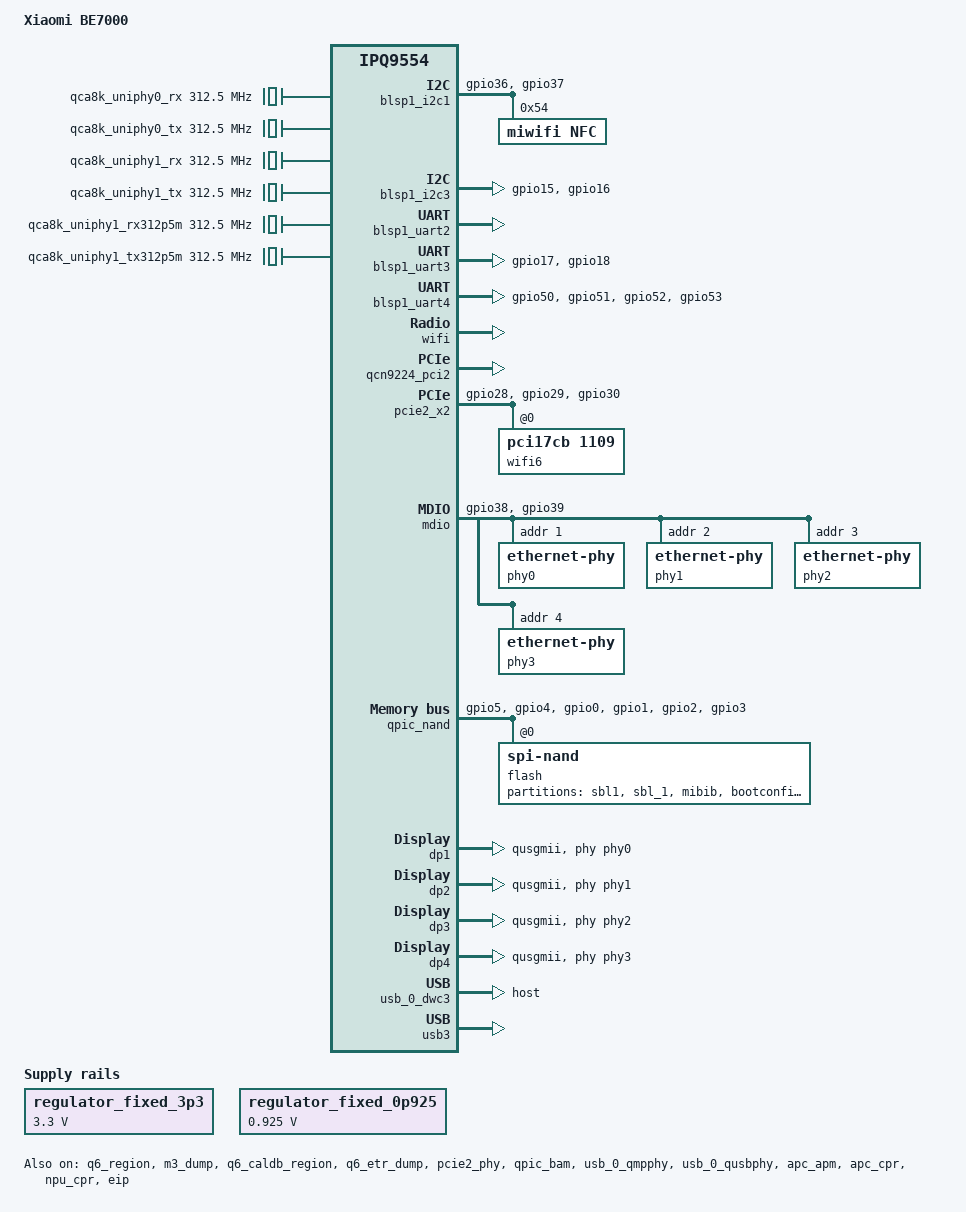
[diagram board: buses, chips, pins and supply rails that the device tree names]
// SPDX-License-Identifier: (GPL-2.0+ OR BSD-3-Clause)

/dts-v1/;


#include <dt-bindings/gpio/gpio.h>
#include <dt-bindings/input/input.h>
#include <dt-bindings/leds/common.h>
#include <dt-bindings/net/qcom-ipq-ess.h>
#include "ipq9574.dtsi"
//#include "ipq9574-ess.dtsi"
#include <dt-bindings/net/qcom,qca808x.h>

/ {
	model = "Xiaomi BE7000";
	compatible = "xiaomi,be7000", "qcom,ipq9574", "qcom,ipq9554";

	aliases {
		serial0 = &blsp1_uart2;
		serial1 = &blsp1_uart3;
		serial2 = &blsp1_uart4;


		ethernet0 = &dp1;
		ethernet1 = &dp2;
		ethernet2 = &dp3;
		ethernet3 = &dp4;
/*		ethernet4 = &dp5;
		ethernet5 = &dp6;*/
	};

	chosen {
		stdout-path = "serial0:115200n8";
//		bootargs-append = " pci=pcie_bus_perf mitigations=off clk_ignore_unused root=/dev/ubiblock0_1";
		bootargs-append = " pci=pcie_bus_perf mitigations=off root=/dev/ubiblock0_1";
/*		bootargs-append = " mitigations=off"; */
	};

	regulator_fixed_3p3: s3300 {
		compatible = "regulator-fixed";
		regulator-min-microvolt = <3300000>;
		regulator-max-microvolt = <3300000>;
		regulator-boot-on;
		regulator-always-on;
		regulator-name = "fixed_3p3";
	};

	regulator_fixed_0p925: s0925 {
		compatible = "regulator-fixed";
		regulator-min-microvolt = <925000>;
		regulator-max-microvolt = <925000>;
		regulator-boot-on;
		regulator-always-on;
		regulator-name = "fixed_0p925";
	};

/*	gpio-keys {
		compatible = "gpio-keys";
		pinctrl-0 = <&gpio_keys_default>;
		pinctrl-names = "default";

		reset {
			label = "reset";
			linux,code = <KEY_RESTART>;
			gpios = <&tlmm 44 GPIO_ACTIVE_LOW>;
			linux,input-type = <EV_KEY>;
			debounce-interval = <60>;
		};
	};*/

/*	leds {
		compatible = "gpio-leds";
		pinctrl-0 = <&gpio_leds_default>;
		pinctrl-names = "default";

		aiot-white {
			label = "white:aiot";
			color = <LED_COLOR_ID_WHITE>;
			gpios = <&tlmm 8 GPIO_ACTIVE_HIGH>;
			default-state = "off";
		};

		led_system_white: system-white {
			label = "white:system";
			color = <LED_COLOR_ID_WHITE>;
			gpios = <&tlmm 40 GPIO_ACTIVE_HIGH>;
			default-state = "off";
		};

		led_system_amber: system-amber {
			label = "amber:system";
			color = <LED_COLOR_ID_AMBER>;
			gpios = <&tlmm 41 GPIO_ACTIVE_HIGH>;
			default-state = "off";
		};

		network-white {
			label = "white:network";
			color = <LED_COLOR_ID_WHITE>;
			gpios = <&tlmm 42 GPIO_ACTIVE_HIGH>;
			default-state = "off";
		};

		network-amber {
			label = "amber:network";
			color = <LED_COLOR_ID_AMBER>;
			gpios = <&tlmm 43 GPIO_ACTIVE_HIGH>;
			default-state = "off";
		};
	};*/

	clocks {
		qca8k_uniphy0_rx: qca8k-uniphy0-rx {
			compatible = "fixed-clock";
			clock-frequency = <312500000>;
			#clock-cells = <0>;
		};

		qca8k_uniphy0_tx: qca8k-uniphy0-tx {
			compatible = "fixed-clock";
			clock-frequency = <312500000>;
			#clock-cells = <0>;
		};

		qca8k_uniphy1_rx: qca8k-uniphy1-rx {
			compatible = "fixed-clock";
			clock-frequency = <312500000>;
			#clock-cells = <0>;
		};

		qca8k_uniphy1_tx: qca8k-uniphy1-tx {
			compatible = "fixed-clock";
			clock-frequency = <312500000>;
			#clock-cells = <0>;
		};

		qca8k_uniphy1_rx312p5m: qca8k-uniphy1-rx312p5m {
			compatible = "fixed-clock";
			clock-frequency = <312500000>;
			#clock-cells = <0>;
		};

		qca8k_uniphy1_tx312p5m: qca8k-uniphy1-tx312p5m {
			compatible = "fixed-clock";
			clock-frequency = <312500000>;
			#clock-cells = <0>;
		};
	};


/*	qti,scm_restart_reason {
		compatible = "qti,scm_restart_reason";
		reg = <0x193d100 0x4>;
		qti,runtime-failsafe = <0x0>;
	};
*/
/*	clocks {
		qca8k_uniphy0_rx: qca8k-uniphy0-rx {
			compatible = "fixed-clock";
			clock-frequency = <312500000>;
			#clock-cells = <0>;
		};

		qca8k_uniphy0_tx: qca8k-uniphy0-tx {
			compatible = "fixed-clock";
			clock-frequency = <312500000>;
			#clock-cells = <0>;
		};
	};*/
};

&blsp1_i2c1 {
	pinctrl-0 = <&i2c1_pins>;
	pinctrl-names = "default";
	status = "okay";

	nfc: nfc@54 {
		compatible = "miwifi,nfc";
		reg = <0x54>;
	};
};

&blsp1_i2c3 {
	pinctrl-0 = <&i2c3_pins>;
	pinctrl-names = "default";
	status = "okay";

};

&blsp1_uart2 {
	pinctrl-0 = <&uart2_pins>;
	pinctrl-names = "default";
	status = "okay";
};

&blsp1_uart3 {
	pinctrl-0 = <&uart3_pins>;
	pinctrl-names = "default";
	status = "okay";
};

&blsp1_uart4 {
	pinctrl-0 = <&uart4_pins>;
	pinctrl-names = "default";
	status = "okay";
};


/*&qcom_ppe {
	ethernet-ports {
		#address-cells = <1>;
		#size-cells = <0>;

		port@1 {
			reg = <1>;
			phy-mode = "10g-qxgmii";
			label = "lan1";
			phy-handle = <&phy0>;
			pcs-handle = <&pcs0_ch0>;
			clocks = <&nsscc NSS_CC_PORT1_MAC_CLK>,
				 <&nsscc NSS_CC_PORT1_RX_CLK>,
				 <&nsscc NSS_CC_PORT1_TX_CLK>;
			clock-names = "port_mac",
				      "port_rx",
				      "port_tx";
			resets = <&nsscc PORT1_MAC_ARES>,
				 <&nsscc PORT1_RX_ARES>,
				 <&nsscc PORT1_TX_ARES>;
			reset-names = "port_mac",
				      "port_rx",
				      "port_tx";
		};

		port@2 {
			reg = <2>;
			phy-mode = "10g-qxgmii";
			label = "lan2";
			phy-handle = <&phy1>;
			pcs-handle = <&pcs0_ch1>;
			clocks = <&nsscc NSS_CC_PORT2_MAC_CLK>,
				 <&nsscc NSS_CC_PORT2_RX_CLK>,
				 <&nsscc NSS_CC_PORT2_TX_CLK>;
			clock-names = "port_mac",
				      "port_rx",
				      "port_tx";
			resets = <&nsscc PORT2_MAC_ARES>,
				 <&nsscc PORT2_RX_ARES>,
				 <&nsscc PORT2_TX_ARES>;
			reset-names = "port_mac",
				      "port_rx",
				      "port_tx";
		};

		port@3 {
			reg = <3>;
			phy-mode = "10g-qxgmii";
			label = "lan3";
			phy-handle = <&phy2>;
			pcs-handle = <&pcs0_ch2>;
			clocks = <&nsscc NSS_CC_PORT3_MAC_CLK>,
				 <&nsscc NSS_CC_PORT3_RX_CLK>,
				 <&nsscc NSS_CC_PORT3_TX_CLK>;
			clock-names = "port_mac",
				      "port_rx",
				      "port_tx";
			resets = <&nsscc PORT3_MAC_ARES>,
				 <&nsscc PORT3_RX_ARES>,
				 <&nsscc PORT3_TX_ARES>;
			reset-names = "port_mac",
				      "port_rx",
				      "port_tx";
		};

		port@4 {
			reg = <4>;
			phy-mode = "10g-qxgmii";
			label = "lan4";
			phy-handle = <&phy3>;
			pcs-handle = <&pcs0_ch3>;
			clocks = <&nsscc NSS_CC_PORT4_MAC_CLK>,
				 <&nsscc NSS_CC_PORT4_RX_CLK>,
				 <&nsscc NSS_CC_PORT4_TX_CLK>;
			clock-names = "port_mac",
				      "port_rx",
				      "port_tx";
			resets = <&nsscc PORT4_MAC_ARES>,
				 <&nsscc PORT4_RX_ARES>,
				 <&nsscc PORT4_TX_ARES>;
			reset-names = "port_mac",
				      "port_rx",
				      "port_tx";
		};
	};
};
*/


&sleep_clk {
	clock-frequency = <32000>;
};


&q6_region {
	status = "okay";
};

&m3_dump {
	status = "okay";
};

&q6_caldb_region {
	status = "okay";
};

&q6_etr_dump {
	status = "okay";
};


&wifi {
	status = "okay";
	qcom,ath11k-calibration-variant = "Xiaomi-BE7000";
	qcom,bdf-addr = <0x4b700000>;
	qcom,caldb-addr = <0x4d800000>;
	qcom,caldb-size = <0x500000>;
	qcom,m3-dump-addr = <0x4d600000>;
	qcom,board_id = <0x20>;
};

&qcn9224_pci2 {
	status = "okay";
};

&pcie2_x2 {
	pinctrl-0 = <&pcie2_default>;
	pinctrl-names = "default";

	perst-gpios = <&tlmm 29 GPIO_ACTIVE_LOW>;
	wake-gpios = <&tlmm 30 GPIO_ACTIVE_LOW>;
	status = "okay";

	pcie@0,0 {
		#address-cells = <3>;
		#size-cells = <2>;
		reg = <0 0 0 0 0>;

		wifi6: pcie@0 {
			compatible = "pci17cb,1109";
			reg = <0 0 0 0 0>;
			qcom,board_id = <0x2>;
/*			qcom,board_id = <0x1008>;*/
			hremote_node = <&qcn9224_pci2>;
			qcom,num-radios = <1>;
		};
	};

};

&pcie2_phy {
	status = "okay";
};


&tlmm {
	i2c1_pins: i2c1-state {
		pins = "gpio36", "gpio37";
		function = "blsp1_i2c";
		drive-strength = <8>;
		bias-disable;
	};

	i2c3_pins: i2c3-state {
		pins = "gpio15", "gpio16";
		function = "blsp3_i2c";
		drive-strength = <0x8>;
		bias-disable;
		phandle = <0x1f>;
	};

	gpio_keys_default: gpio-keys-default-state {
		pins = "gpio44";
		function = "gpio";
		drive-strength = <8>;
		bias-pull-up;
	};

	gpio_leds_default: gpio-leds-default-state {
		pins = "gpio8", "gpio40", "gpio41", "gpio42", "gpio43";
		function = "gpio";
		drive-strength = <8>;
		bias-pull-up;
	};
	gps_pins {
		uart3_pins: blsp3_uart_pinmux {
			pins = "gpio17", "gpio18";
			function = "blsp3_uart";
			drive-strength = <0x8>;
			bias-disable;
		};

		gps_on_off {
			pins = "gpio7";
			function = "gpio";
			drive-strength = <0x8>;
			bias-pull-down;
		};
	};


	qpic_snand_default_state: qpic-snand-default-state {
		clock-pins {
			pins = "gpio5";
			function = "qspi_clk";
			drive-strength = <8>;
			bias-disable;
		};

		cs-pins {
			pins = "gpio4";
			function = "qspi_cs";
			drive-strength = <8>;
			bias-disable;
		};

		data-pins {
			pins = "gpio0", "gpio1", "gpio2", "gpio3";
			function = "qspi_data";
			drive-strength = <8>;
			bias-disable;
		};
	};

	pcie2_default: pcie2-default-state {
		clkreq-n-pins {
			pins = "gpio28";
			function = "pcie2_clk";
			drive-strength = <6>;
			bias-pull-up;
		};

		perst-n-pins {
			pins = "gpio29";
			function = "gpio";
			drive-strength = <8>;
			bias-pull-down;
			output-low;
		};

		wake-n-pins {
			pins = "gpio30";
			function = "pcie2_wake";
			drive-strength = <6>;
			bias-pull-up;
		};
	};

	mdio_pins: mdio-default-state {
		mdc {
			pins = "gpio38";
			function = "mdc";
			drive-strength = <8>;
			bias-disable;
		};
		mdio {
			pins = "gpio39";
			function = "mdio";
			drive-strength = <8>;
			bias-pull-up;
		};
	};

	QCC710_pins {
		uart4_pins: blsp1_uart4_pinmux {
			pins = "gpio50", "gpio51", "gpio52", "gpio53";
			function = "blsp4_uart";
			drive-strength = <0x8>;
			bias-disable;
		};

		QCC710_reset {
			pins = "gpio19";
			function = "gpio";
			drive-strength = <0x8>;
			bias-pull-down;
		};
	};

	pta_QCC710 {
		pta1_0 {
			pins = "gpio56";
			function = "pta1_0";
			drive-strength = <0x8>;
			bias-disable;
		};

		pta1_1 {
			pins = "gpio54";
			function = "pta1_1";
			drive-strength = <0x8>;
			bias-disable;
		};

		pta1_2 {
			pins = "gpio55";
			function = "pta1_2";
			drive-strength = <0x8>;
			bias-disable;
		};
	};

};

&mdio {
	status = "okay";
	clock-frequency = <6250000>;
	pinctrl-0 = <&mdio_pins>;
	pinctrl-names = "default";
	phy-reset-gpio = <&tlmm 60 GPIO_ACTIVE_LOW>;
	phyaddr_fixup = <0xC90F018>;
	uniphyaddr_fixup = <0xC90F014>;

	phyaddr_fixup_fix = <0x320c41>;
	uniphyaddr_fixup_fix = <0x1cc5>;

	mdio_clk_fixup; /* MDIO clock sequence fix up flag */

#if 1
	phy0: ethernet-phy@0 {
		      reg = <1>;
		      fixup;
	      };
	phy1: ethernet-phy@1 {
		      reg = <2>;
		      fixup;
	      };
	phy2: ethernet-phy@2 {
		      reg = <3>;
		      fixup;
	      };
	phy3: ethernet-phy@3 {
		      reg = <4>;
		      fixup;
	      };
/*	phy4: ethernet-phy@4 {
		      compatible ="ethernet-phy-ieee802.3-c45";
		      reg = <8>;
	      };
	phy5: ethernet-phy@5 {
		      compatible ="ethernet-phy-ieee802.3-c45";
		      reg = <0>;
	      };*/
#endif

/*	phy4: ethernet-phy@4 {
		      compatible ="ethernet-phy-ieee802.3-c45";
		      reg = <8>;
	      };
	phy5: ethernet-phy@5 {
		      compatible ="ethernet-phy-ieee802.3-c45";
		      reg = <0>;
	      };*/

};

&qpic_bam {
	status = "okay";
};

&qpic_nand {
	pinctrl-0 = <&qpic_snand_default_state>;
	pinctrl-names = "default";
	status = "okay";

	flash@0 {
		reg = <0>;
		compatible = "spi-nand";
		#address-cells = <1>;
		#size-cells = <1>;
		nand-ecc-strength = <8>;
		nand-ecc-step-size = <512>;
		nand-bus-width = <0x08>;
		nand-ecc-engine = <&qpic_nand>;
		partitions {
			compatible = "fixed-partitions";
			#address-cells = <1>;
			#size-cells = <1>;
			partition@0 {
				label = "sbl1";
				reg = <0x0 0x100000>;
				read-only;
			};
			partition@20000 {
				label = "sbl_1";
				reg = <0x100000 0x100000>;
				read-only;
			};

			partition@200000 {
				label = "mibib";
				reg = <0x200000 0x100000>;
				read-only;
			};

			partition@300000 {
				label = "bootconfig";
				reg = <0x300000 0x80000>;
				read-only;
			};

			partition@380000 {
				label = "bootconfig1";
				reg = <0x380000 0x80000>;
				read-only;
			};

			partition@400000 {
				label = "qsee";
				reg = <0x400000 0x200000>;
				read-only;
			};

			partition@600000 {
				label = "qsee_1";
				reg = <0x600000 0x200000>;
				read-only;
			};

			partition@800000 {
				label = "devcfg";
				reg = <0x800000 0x80000>;
				read-only;
			};

			partition@880000 {
				label = "devcfg_1";
				reg = <0x880000 0x80000>;
				read-only;
			};

			partition@900000 {
				label = "apdp";
				reg = <0x900000 0x80000>;
				read-only;
			};

			partition@980000 {
				label = "apdp_1";
				reg = <0x980000 0x80000>;
				read-only;
			};

			partition@a00000 {
				label = "tme";
				reg = <0xa00000 0x80000>;
				read-only;
			};

			partition@a80000 {
				label = "tme_1";
				reg = <0xa80000 0x80000>;
				read-only;
			};

			partition@b00000 {
				label = "rpm";
				reg = <0xb00000 0x80000>;
				read-only;
			};

			partition@b80000 {
				label = "rpm_1";
				reg = <0xb80000 0x80000>;
				read-only;
			};

			partition@c00000 {
				label = "cdt";
				reg = <0xc00000 0x80000>;
				read-only;
			};

			partition@c80000 {
				label = "cdt_1";
				reg = <0xc80000 0x80000>;
				read-only;
			};

			partition@d00000 {
				label = "appsblenv";
				reg = <0xd00000 0x80000>;
			};

			partition@d80000 {
				label = "appsbl";
				reg = <0xd80000 0x100000>;
				read-only;
			};

			partition@e80000 {
				label = "appsbl_1";
				reg = <0xe80000 0x100000>;
				read-only;
			};

			partition@f80000 {
				label = "art";
				reg = <0xf80000 0x100000>;
				read-only;
			};

			partition@1080000 {
				label = "training";
				reg = <0x1080000 0x80000>;
			};

			partition@1100000 {
				label = "license";
				reg = <0x1100000 0x40000>;
			};

			partition@1140000 {
				label = "rootfs";
				reg = <0x1140000 0x2800000>;
			};

			partition@3940000 {
				label = "rootfs_1";
				reg = <0x3940000 0x2800000>;
			};

			partition@6140000 {
				label = "bdata";
				reg = <0x6140000 0x80000>;
			};

			partition@61c0000 {
				label = "nvram";
				reg = <0x61c0000 0x100000>;
				
			};

			partition@62c0000 {
				label = "overlay";
				reg = <0x62c0000 0x1c00000>;
				
			};

			partition@7ec0000 {
				label = "kf";
				reg = <0x7ec0000 0x40000>;
				
			};
		};

	};
};


&soc {
	ess-uniphy@7a00000 {
		compatible = "qcom,ess-uniphy";
		reg = <0x7a00000 0x30000>;
		uniphy_access_mode = "local bus";
	};

	ess_instance: ess-instance {
		compatible = "qcom,ess-instance";
		#address-cells = <1>;
		#size-cells = <1>;

		switch: ess-switch@3a000000 {

			compatible = "qcom,ess-switch-ipq95xx";
			switch_access_mode = "local bus";
			reg = <0x3a000000 0x1000000>;

			interconnects = <&nsscc MASTER_NSSNOC_PPE
					 &nsscc SLAVE_NSSNOC_PPE>,
					<&nsscc MASTER_NSSNOC_PPE_CFG
					 &nsscc SLAVE_NSSNOC_PPE_CFG>,
					<&gcc MASTER_NSSNOC_QOSGEN_REF
					 &gcc SLAVE_NSSNOC_QOSGEN_REF>,
					<&gcc MASTER_NSSNOC_TIMEOUT_REF
					 &gcc SLAVE_NSSNOC_TIMEOUT_REF>,
					<&gcc MASTER_MEM_NOC_NSSNOC
					 &gcc SLAVE_MEM_NOC_NSSNOC>,
					<&gcc MASTER_NSSNOC_MEMNOC
					 &gcc SLAVE_NSSNOC_MEMNOC>,
					<&gcc MASTER_NSSNOC_MEM_NOC_1
					 &gcc SLAVE_NSSNOC_MEM_NOC_1>;
			interconnect-names = "ppe",
					     "ppe_cfg",
					     "qos_gen",
					     "timeout_ref",
					     "nssnoc_memnoc",
					     "memnoc_nssnoc",
					     "memnoc_nssnoc_1";



			clocks = <&gcc GCC_CMN_12GPLL_AHB_CLK>,
				<&gcc GCC_CMN_12GPLL_SYS_CLK>,
				<&gcc GCC_UNIPHY0_AHB_CLK>,
				<&gcc GCC_UNIPHY0_SYS_CLK>,
				<&gcc GCC_UNIPHY1_AHB_CLK>,
				<&gcc GCC_UNIPHY1_SYS_CLK>,
				<&gcc GCC_UNIPHY2_AHB_CLK>,
				<&gcc GCC_UNIPHY2_SYS_CLK>,
				<&gcc GCC_NSSNOC_NSSCC_CLK>,
				<&gcc GCC_NSSCC_CLK>,
				<&gcc GCC_NSSNOC_SNOC_1_CLK>,
				<&gcc GCC_NSSNOC_SNOC_CLK>,
				<&nsscc NSS_CC_PORT1_MAC_CLK>,
				<&nsscc NSS_CC_PORT2_MAC_CLK>,
				<&nsscc NSS_CC_PORT3_MAC_CLK>,
				<&nsscc NSS_CC_PORT4_MAC_CLK>,
				<&nsscc NSS_CC_PORT5_MAC_CLK>,
				<&nsscc NSS_CC_PORT6_MAC_CLK>,
				<&nsscc NSS_CC_PPE_SWITCH_CLK>,
				<&nsscc NSS_CC_PPE_SWITCH_CFG_CLK>,
				<&nsscc NSS_CC_NSSNOC_PPE_CLK>,
				<&nsscc NSS_CC_NSSNOC_PPE_CFG_CLK>,
				<&nsscc NSS_CC_PPE_EDMA_CLK>,
				<&nsscc NSS_CC_PPE_EDMA_CFG_CLK>,
				<&nsscc NSS_CC_PPE_SWITCH_IPE_CLK>,
				<&nsscc NSS_CC_PPE_SWITCH_BTQ_CLK>,
				<&nsscc NSS_CC_PORT1_RX_CLK>,
				<&nsscc NSS_CC_PORT1_TX_CLK>,
				<&nsscc NSS_CC_PORT2_RX_CLK>,
				<&nsscc NSS_CC_PORT2_TX_CLK>,
				<&nsscc NSS_CC_PORT3_RX_CLK>,
				<&nsscc NSS_CC_PORT3_TX_CLK>,
				<&nsscc NSS_CC_PORT4_RX_CLK>,
				<&nsscc NSS_CC_PORT4_TX_CLK>,
				<&nsscc NSS_CC_PORT5_RX_CLK>,
				<&nsscc NSS_CC_PORT5_TX_CLK>,
				<&nsscc NSS_CC_PORT6_RX_CLK>,
				<&nsscc NSS_CC_PORT6_TX_CLK>,
				<&nsscc NSS_CC_UNIPHY_PORT1_RX_CLK>,
				<&nsscc NSS_CC_UNIPHY_PORT1_TX_CLK>,
				<&nsscc NSS_CC_UNIPHY_PORT2_RX_CLK>,
				<&nsscc NSS_CC_UNIPHY_PORT2_TX_CLK>,
				<&nsscc NSS_CC_UNIPHY_PORT3_RX_CLK>,
				<&nsscc NSS_CC_UNIPHY_PORT3_TX_CLK>,
				<&nsscc NSS_CC_UNIPHY_PORT4_RX_CLK>,
				<&nsscc NSS_CC_UNIPHY_PORT4_TX_CLK>,
				<&nsscc NSS_CC_UNIPHY_PORT5_RX_CLK>,
				<&nsscc NSS_CC_UNIPHY_PORT5_TX_CLK>,
				<&nsscc NSS_CC_UNIPHY_PORT6_RX_CLK>,
				<&nsscc NSS_CC_UNIPHY_PORT6_TX_CLK>,
				<&nsscc NSS_CC_PORT5_RX_CLK_SRC>,
				<&nsscc NSS_CC_PORT5_TX_CLK_SRC>;

			clock-names = "cmn_ahb_clk",
				"cmn_sys_clk",
				"uniphy0_ahb_clk",
				"uniphy0_sys_clk",
				"uniphy1_ahb_clk",
				"uniphy1_sys_clk",
				"uniphy2_ahb_clk",
				"uniphy2_sys_clk",
				"gcc_nssnoc_nsscc_clk",
				"gcc_nsscc_clk",
				"gcc_nssnoc_snoc_1_clk",
				"gcc_nssnoc_snoc_clk",
				"port1_mac_clk",
				"port2_mac_clk",
				"port3_mac_clk",
				"port4_mac_clk",
				"port5_mac_clk",
				"port6_mac_clk",
				"nss_ppe_clk",
				"nss_ppe_cfg_clk",
				"nssnoc_ppe_clk",
				"nssnoc_ppe_cfg_clk",
				"nss_edma_clk",
				"nss_edma_cfg_clk",
				"nss_ppe_ipe_clk",
				"nss_ppe_btq_clk",
				"nss_port1_rx_clk", "nss_port1_tx_clk",
				"nss_port2_rx_clk", "nss_port2_tx_clk",
				"nss_port3_rx_clk", "nss_port3_tx_clk",
				"nss_port4_rx_clk", "nss_port4_tx_clk",
				"nss_port5_rx_clk", "nss_port5_tx_clk",
				"nss_port6_rx_clk", "nss_port6_tx_clk",
				"uniphy0_port1_rx_clk",
				"uniphy0_port1_tx_clk",
				"uniphy0_port2_rx_clk",
				"uniphy0_port2_tx_clk",
				"uniphy0_port3_rx_clk",
				"uniphy0_port3_tx_clk",
				"uniphy0_port4_rx_clk",
				"uniphy0_port4_tx_clk",
				"uniphy0_port5_rx_clk",
				"uniphy0_port5_tx_clk",
				"uniphy2_port6_rx_clk",
				"uniphy2_port6_tx_clk",
				"nss_port5_rx_clk_src",
				"nss_port5_tx_clk_src";

			resets =<&nsscc PPE_FULL_RESET>,
				<&nsscc UNIPHY0_SOFT_RESET>,
				<&gcc GCC_UNIPHY0_XPCS_RESET>,
				<&nsscc UNIPHY_PORT5_ARES>,
				<&gcc GCC_UNIPHY1_XPCS_RESET>,
				<&nsscc UNIPHY_PORT6_ARES>,
				<&gcc GCC_UNIPHY2_XPCS_RESET>,
				<&nsscc UNIPHY_PORT1_ARES>,
				<&nsscc UNIPHY_PORT2_ARES>,
				<&nsscc UNIPHY_PORT3_ARES>,
				<&nsscc UNIPHY_PORT4_ARES>,
				<&gcc GCC_UNIPHY0_SYS_RESET>,
				<&gcc GCC_UNIPHY1_SYS_RESET>,
				<&gcc GCC_UNIPHY2_SYS_RESET>,
				<&nsscc NSSPORT1_RESET>,
				<&nsscc NSSPORT2_RESET>,
				<&nsscc NSSPORT3_RESET>,
				<&nsscc NSSPORT4_RESET>,
				<&nsscc NSSPORT5_RESET>,
				<&nsscc NSSPORT6_RESET>,
				<&nsscc PORT1_MAC_ARES>,
				<&nsscc PORT2_MAC_ARES>,
				<&nsscc PORT3_MAC_ARES>,
				<&nsscc PORT4_MAC_ARES>,
				<&nsscc PORT5_MAC_ARES>,
				<&nsscc PORT6_MAC_ARES>,
				<&nsscc PORT1_RX_ARES>,
				<&nsscc PORT1_TX_ARES>,
				<&nsscc PORT2_RX_ARES>,
				<&nsscc PORT2_TX_ARES>,
				<&nsscc PORT3_RX_ARES>,
				<&nsscc PORT3_TX_ARES>,
				<&nsscc PORT4_RX_ARES>,
				<&nsscc PORT4_TX_ARES>,
				<&nsscc PORT5_RX_ARES>,
				<&nsscc PORT5_TX_ARES>,
				<&nsscc PORT6_RX_ARES>,
				<&nsscc PORT6_TX_ARES>,
				<&nsscc UNIPHY_PORT1_RX_ARES>,
				<&nsscc UNIPHY_PORT1_TX_ARES>,
				<&nsscc UNIPHY_PORT2_RX_ARES>,
				<&nsscc UNIPHY_PORT2_TX_ARES>,
				<&nsscc UNIPHY_PORT3_RX_ARES>,
				<&nsscc UNIPHY_PORT3_TX_ARES>,
				<&nsscc UNIPHY_PORT4_RX_ARES>,
				<&nsscc UNIPHY_PORT4_TX_ARES>,
				<&nsscc UNIPHY_PORT5_RX_ARES>,
				<&nsscc UNIPHY_PORT5_TX_ARES>,
				<&nsscc UNIPHY_PORT6_RX_ARES>,
				<&nsscc UNIPHY_PORT6_TX_ARES>;

			reset-names = "ppe_rst",
				"uniphy0_soft_rst",
				"uniphy0_xpcs_rst",
				"uniphy1_soft_rst",
				"uniphy1_xpcs_rst",
				"uniphy2_soft_rst",
				"uniphy2_xpcs_rst",
				"uniphy0_port1_dis",
				"uniphy0_port2_dis",
				"uniphy0_port3_dis",
				"uniphy0_port4_dis",
				"uniphy0_sys_rst",
				"uniphy1_sys_rst",
				"uniphy2_sys_rst",
				"nss_port1_rst",
				"nss_port2_rst",
				"nss_port3_rst",
				"nss_port4_rst",
				"nss_port5_rst",
				"nss_port6_rst",
				"nss_port1_mac_rst",
				"nss_port2_mac_rst",
				"nss_port3_mac_rst",
				"nss_port4_mac_rst",
				"nss_port5_mac_rst",
				"nss_port6_mac_rst",
				"nss_port1_tx_rst",
				"nss_port1_rx_rst",
				"nss_port2_tx_rst",
				"nss_port2_rx_rst",
				"nss_port3_tx_rst",
				"nss_port3_rx_rst",
				"nss_port4_tx_rst",
				"nss_port4_rx_rst",
				"nss_port5_tx_rst",
				"nss_port5_rx_rst",
				"nss_port6_tx_rst",
				"nss_port6_rx_rst",
				"nss_uniphy_port1_tx_rst",
				"nss_uniphy_port1_rx_rst",
				"nss_uniphy_port2_tx_rst",
				"nss_uniphy_port2_rx_rst",
				"nss_uniphy_port3_tx_rst",
				"nss_uniphy_port3_rx_rst",
				"nss_uniphy_port4_tx_rst",
				"nss_uniphy_port4_rx_rst",
				"nss_uniphy_port5_tx_rst",
				"nss_uniphy_port5_rx_rst",
				"nss_uniphy_port6_tx_rst",
				"nss_uniphy_port6_rx_rst";
				
//				switch_cpu_bmp = <0x1>;
//				switch_inner_bmp = <0x80>;
//				switch_lan_bmp = <0x1e>;
//				switch_wan_bmp = <0x20>;
//				switch_mac_mode = <0x15>;
//				switch_mac_mode1 = <0xd>;
//				switch_mac_mode2 = <0xd>;

//				switch_cpu_bmp = <0x1>;  /* cpu port bitmap */
//				switch_inner_bmp = <0x80>;
//				switch_lan_bmp = <0x3e>; /* lan port bitmap */
//				switch_wan_bmp = <0x40>; /* wan port bitmap */
				switch_mac_mode = <0x15>; /* mac mode for uniphy instance0*/
				switch_mac_mode1 = <0xff>; /* mac mode for uniphy instance1*/
				switch_mac_mode2 = <0xff>; /* mac mode for uniphy instance2*/


				switch_cpu_bmp = <ESS_PORT0>;
				switch_inner_bmp = <ESS_PORT7>;
				switch_lan_bmp = <(ESS_PORT1 | ESS_PORT2 | ESS_PORT3 | ESS_PORT4)>;
//				switch_wan_bmp = <ESS_PORT6>;
//				switch_mac_mode = <MAC_MODE_UQXGMII>;
//				switch_mac_mode1 = <MAC_MODE_USXGMII>;
//				switch_mac_mode2 = <MAC_MODE_USXGMII>;
//				switch_mac_mode1 = <0xd>;
//				switch_mac_mode2 = <0xd>;
				bm_tick_mode = <0x0>;
				tm_tick_mode = <0x1>;

			mdio-bus = <&mdio>;
#if 1
			port_scheduler_resource {
				port@0 {
					port_id = <0>;
					ucast_queue = <0 63>;
					mcast_queue = <256 263>;
					l0sp = <0 0>;
					l0cdrr = <0 7>;
					l0edrr = <0 7>;
					l1cdrr = <0 0>;
					l1edrr = <0 0>;
				};
				port@1 {
					port_id = <1>;
					ucast_queue = <204 211>;
					mcast_queue = <272 275>;
					l0sp = <51 52>;
					l0cdrr = <108 115>;
					l0edrr = <108 115>;
					l1cdrr = <23 24>;
					l1edrr = <23 24>;
				};
				port@2 {
					port_id = <2>;
					ucast_queue = <212 219>;
					mcast_queue = <276 279>;
					l0sp = <53 54>;
					l0cdrr = <116 123>;
					l0edrr = <116 123>;
					l1cdrr = <25 26>;
					l1edrr = <25 26>;
				};
				port@3 {
					port_id = <3>;
					ucast_queue = <220 227>;
					mcast_queue = <280 283>;
					l0sp = <55 56>;
					l0cdrr = <124 131>;
					l0edrr = <124 131>;
					l1cdrr = <27 28>;
					l1edrr = <27 28>;
				};
				port@4 {
					port_id = <4>;
					ucast_queue = <228 235>;
					mcast_queue = <284 287>;
					l0sp = <57 58>;
					l0cdrr = <132 139>;
					l0edrr = <132 139>;
					l1cdrr = <29 30>;
					l1edrr = <29 30>;
				};
				port@5 {
					port_id = <5>;
					ucast_queue = <236 243>;
					mcast_queue = <288 291>;
					l0sp = <59 60>;
					l0cdrr = <140 147>;
					l0edrr = <140 147>;
					l1cdrr = <31 32>;
					l1edrr = <31 32>;
				};
				port@6 {
					port_id = <6>;
					ucast_queue = <244 251>;
					mcast_queue = <292 295>;
					l0sp = <61 62>;
					l0cdrr = <148 155>;
					l0edrr = <148 155>;
					l1cdrr = <33 34>;
					l1edrr = <33 34>;
				};
				port@7 {
					port_id = <7>;
					ucast_queue = <252 255>;
					mcast_queue = <296 299>;
					l0sp = <63 63>;
					l0cdrr = <156 159>;
					l0edrr = <156 159>;
					l1cdrr = <35 35>;
					l1edrr = <35 35>;
				};
				reserved {
					ucast_queue = <64 203>;
					mcast_queue = <264 271>;
					l0sp = <1 50>;
					l0cdrr = <8 107>;
					l0edrr = <8 107>;
					l1cdrr = <1 22>;
					l1edrr = <1 22>;
				};
			};
			port_scheduler_config {
				port@0 {
					port_id = <0>;
					l1scheduler {
						group@0 {
							/* L0 SP */
							sp = <0>;
							/* cpri cdrr epri edrr */
							cfg = <0 0 0 0>;
						};
					};
					l0scheduler {
						group@0 {
							/* unicast queue */
							ucast_queue = <0>;
							ucast_loop_pri = <8>;
							/* multicast queue */
							mcast_queue = <256>;
							/* sp cpri cdrr epri edrr */
							cfg = <0 0 0 0 0>;
						};
						group@1 {
							ucast_queue = <8>;
							ucast_loop_pri = <8>;
							mcast_queue = <257>;
							cfg = <0 0 0 0 0>;
						};
						group@2 {
							ucast_queue = <16>;
							ucast_loop_pri = <8>;
							mcast_queue = <258>;
							cfg = <0 0 0 0 0>;
						};
						group@3 {
							ucast_queue = <24>;
							ucast_loop_pri = <8>;
							mcast_queue = <259>;
							cfg = <0 0 0 0 0>;
						};
						group@4 {
							ucast_queue = <32>;
							ucast_loop_pri = <8>;
							mcast_queue = <260>;
							cfg = <0 0 0 0 0>;
						};
						group@5 {
							ucast_queue = <40>;
							ucast_loop_pri = <8>;
							mcast_queue = <261>;
							cfg = <0 0 0 0 0>;
						};
						group@6 {
							ucast_queue = <48>;
							ucast_loop_pri = <8>;
							mcast_queue = <262>;
							cfg = <0 0 0 0 0>;
						};
						group@7 {
							ucast_queue = <56>;
							ucast_loop_pri = <8>;
							mcast_queue = <263>;
							cfg = <0 0 0 0 0>;
						};
					};
				};
				port@1 {
					port_id = <1>;
					l1scheduler {
						group@0 {
							sp = <51>;
							cfg = <0 23 0 23>;
						};
						group@1 {
							sp = <52>;
							cfg = <1 24 1 24>;
						};
					};
					l0scheduler {
						group@0 {
							ucast_queue = <204>;
							ucast_loop_pri = <8>;
							/* max priority per SP */
							ucast_max_pri = <4>;
							mcast_queue = <272>;
							mcast_loop_pri = <4>;
							cfg = <51 0 108 0 108>;
						};
					};
				};
				port@2 {
					port_id = <2>;
					l1scheduler {
						group@0 {
							sp = <53>;
							cfg = <0 25 0 25>;
						};
						group@1 {
							sp = <54>;
							cfg = <1 26 1 26>;
						};
					};
					l0scheduler {
						group@0 {
							ucast_queue = <212>;
							ucast_loop_pri = <8>;
							ucast_max_pri = <4>;
							mcast_queue = <276>;
							mcast_loop_pri = <4>;
							cfg = <53 0 116 0 116>;
						};
					};
				};
				port@3 {
					port_id = <3>;
					l1scheduler {
						group@0 {
							sp = <55>;
							cfg = <0 27 0 27>;
						};
						group@1 {
							sp = <56>;
							cfg = <1 28 1 28>;
						};
					};
					l0scheduler {
						group@0 {
							ucast_queue = <220>;
							ucast_loop_pri = <8>;
							ucast_max_pri = <4>;
							mcast_queue = <280>;
							mcast_loop_pri = <4>;
							cfg = <55 0 124 0 124>;
						};
					};
				};
				port@4 {
					port_id = <4>;
					l1scheduler {
						group@0 {
							sp = <57>;
							cfg = <0 29 0 29>;
						};
						group@1 {
							sp = <58>;
							cfg = <1 30 1 30>;
						};
					};
					l0scheduler {
						group@0 {
							ucast_queue = <228>;
							ucast_loop_pri = <8>;
							ucast_max_pri = <4>;
							mcast_queue = <284>;
							mcast_loop_pri = <4>;
							cfg = <57 0 132 0 132>;
						};
					};
				};
				port@5 {
					port_id = <5>;
					l1scheduler {
						group@0 {
							sp = <59>;
							cfg = <0 31 0 31>;
						};
						group@1 {
							sp = <60>;
							cfg = <1 32 1 32>;
						};
					};
					l0scheduler {
						group@0 {
							ucast_queue = <236>;
							ucast_loop_pri = <8>;
							ucast_max_pri = <4>;
							mcast_queue = <288>;
							mcast_loop_pri = <4>;
							cfg = <59 0 140 0 140>;
						};
					};
				};
				port@6 {
					port_id = <6>;
					l1scheduler {
						group@0 {
							sp = <61>;
							cfg = <0 33 0 33>;
						};
						group@1 {
							sp = <62>;
							cfg = <1 34 1 34>;
						};
					};
					l0scheduler {
						group@0 {
							ucast_queue = <244>;
							ucast_loop_pri = <8>;
							ucast_max_pri = <4>;
							mcast_queue = <292>;
							mcast_loop_pri = <4>;
							cfg = <61 0 148 0 148>;
						};
					};
				};
				port@7 {
					port_id = <7>;
					l1scheduler {
						group@0 {
							sp = <63>;
							cfg = <0 35 0 35>;
						};
					};
					l0scheduler {
						group@0 {
							ucast_queue = <252>;
							ucast_loop_pri = <4>;
							ucast_max_pri = <4>;
							mcast_queue = <296>;
							mcast_loop_pri = <4>;
							cfg = <63 0 156 0 156>;
						};
					};
				};
			};
#endif

	qcom,port_phyinfo {
		port@0 {
			port_id = <1>;
			phy_address = <1>;
		        ethernet-phy-id004d.d180;
			phy-handle = <&phy0>;
			port_mac_sel = "QGMAC_PORT";
			phy-mode = "qusgmii";
		};
		port@1 {
			port_id = <2>;
			phy_address = <2>;
		        ethernet-phy-id004d.d180;
			port_mac_sel = "QGMAC_PORT";
			phy-handle = <&phy1>;
			phy-mode = "qusgmii";
		};
		port@2 {
			port_id = <3>;
			phy_address = <3>;
		        ethernet-phy-id004d.d180;
			port_mac_sel = "QGMAC_PORT";
			phy-handle = <&phy2>;
			phy-mode = "qusgmii";
		};
		port@3 {
			port_id = <4>;
			phy_address = <4>;
		        ethernet-phy-id004d.d180;
			port_mac_sel = "QGMAC_PORT";
			phy-handle = <&phy3>;
			phy-mode = "qusgmii";
		};
/*		port@4 {
			port_id = <5>;
			phy_address = <8>;
			ethernet-phy-ieee802.3-c45;
			phy-handle = <&phy4>;
			phy-mode = "usxgmii";
		};
		port@5 {
			port_id = <6>;
			phy_address = <0>;
			ethernet-phy-ieee802.3-c45;
			phy-handle = <&phy5>;
			phy-mode = "usxgmii";
		};*/
	};

				led_source@0 {
					source = <0x0>;
					mode = "normal";
					speed = "all";
					blink_en = "enable";
					active = "high";
				};

				led_source@3 {
					source = <0x3>;
					mode = "normal";
					speed = "all";
					blink_en = "enable";
					active = "high";
				};

				led_source@6 {
					source = <0x6>;
					mode = "normal";
					speed = "all";
					blink_en = "enable";
					active = "high";
				};

				led_source@9 {
					source = <0x9>;
					mode = "normal";
					speed = "all";
					blink_en = "enable";
					active = "high";
				};

				led_source@2 {
					source = <0x2>;
					mode = "normal";
					speed = "all";
					blink_en = "enable";
					active = "high";
				};

		};
	};

		dp1: dp1 {
			device_type = "network";
			compatible = "qcom,nss-dp";
			qcom,id = <1>;
			reg = <0x3a500000 0x4000>;
			qcom,mactype = <1>;
			local-mac-address = [000000000000];
			phy-mode = "qusgmii";
		        ethernet-phy-id004d.d180;
			qcom,link-poll = <0x1>;
			qcom,phy-mdio-addr = <0x1>;
			phy-handle = <&phy0>;
			qcom,ppe-offload-disabled = <1>;
			label = "wan";
		};

		dp2: dp2 {
			device_type = "network";
			compatible = "qcom,nss-dp";
			qcom,id = <2>;
			reg = <0x3a504000 0x4000>;
			qcom,mactype = <1>;
			local-mac-address = [000000000000];
			phy-mode = "qusgmii";
		        ethernet-phy-id004d.d180;
			qcom,link-poll = <0x1>;
			qcom,phy-mdio-addr = <0x2>;
			phy-handle = <&phy1>;
			qcom,ppe-offload-disabled = <1>;
			label = "lan1";
		};

		dp3: dp3 {
			device_type = "network";
			compatible = "qcom,nss-dp";
			qcom,id = <3>;
			reg = <0x3a508000 0x4000>;
			qcom,mactype = <1>;
		        ethernet-phy-id004d.d180;
			local-mac-address = [000000000000];
			phy-mode = "qusgmii";
			qcom,link-poll = <0x1>;
			qcom,phy-mdio-addr = <0x3>;
			phy-handle = <&phy2>;
			qcom,ppe-offload-disabled = <1>; 
			label = "lan2";
		};

		dp4: dp4 {
			device_type = "network";
			compatible = "qcom,nss-dp";
			qcom,id = <4>;
			reg = <0x3a50c000 0x4000>;
			qcom,mactype = <1>;
		        ethernet-phy-id004d.d180;
			local-mac-address = [000000000000];
			phy-mode = "qusgmii";
			qcom,link-poll = <0x1>;
			qcom,phy-mdio-addr = <0x4>;
			phy-handle = <&phy3>;
			qcom,ppe-offload-disabled = <1>;
			label = "lan3";
		};

/*		dp5: dp5 {
			device_type = "network";
			compatible = "qcom,nss-dp";
			qcom,id = <5>;
			reg = <0x3a510000 0x4000>;
			qcom,mactype = <1>;
			local-mac-address = [000000000000];
			qcom,link-poll = <0x1>;
			qcom,phy-mdio-addr = <0x8>;
			phy-handle = <&phy4>;
			phy-mode = "usxgmii";
		};

		dp6: dp6 {
			device_type = "network";
			compatible = "qcom,nss-dp";
			qcom,id = <6>;
			reg = <0x3a514000 0x4000>;
			qcom,mactype = <1>;
			local-mac-address = [000000000000];
			qcom,link-poll = <0x1>;
			qcom,phy-mdio-addr = <0x0>;
			phy-handle = <&phy5>;
			phy-mode = "usxgmii";
		};*/

		nss-macsec0 {
			compatible = "qcom,nss-macsec";
			phy_addr = <0x1>;
			mdiobus = <&mdio>;
		};
		nss-macsec1 {
			compatible = "qcom,nss-macsec";
			phy_addr = <0x2>;
			mdiobus = <&mdio>;
		};
		nss-macsec2 {
			compatible = "qcom,nss-macsec";
			phy_addr = <0x3>;
			mdiobus = <&mdio>;
		};
		nss-macsec3 {
			compatible = "qcom,nss-macsec";
			phy_addr = <0x4>;
			mdiobus = <&mdio>;
		};

		nss-common {
			compatible = "qcom,nss-common";
			reg = <0x39B28A04 0x01>;
			reg-names = "nss-misc-reset";
		};

		nss0: nss@40000000 {
			compatible = "qcom,nss";
			interrupts = <0 431 0x1>, <0 430 0x1>, <0 429 0x1>,
				     <0 428 0x1>, <0 427 0x1>, <0 426 0x1>,
				     <0 425 0x1>, <0 424 0x1>, <0 423 0x1>,
				     <0 422 0x1>;
			reg = <0x38F00000 0x100>, <0x38200000 0xC000>,
			      <0xB11A000 0x1000>;
			reg-names = "nphys", "vphys", "qgic-phys";
			clocks = <&nsscc NSS_CC_NSS_CSR_CLK>,
				 <&nsscc NSS_CC_NSSNOC_NSS_CSR_CLK>,
				 <&nsscc NSS_CC_HAQ_AHB_CLK>,
				 <&nsscc NSS_CC_HAQ_AXI_CLK>,
				 <&nsscc NSS_CC_NSSNOC_HAQ_AHB_CLK>,
				 <&nsscc NSS_CC_NSSNOC_HAQ_AXI_CLK>,
				 <&nsscc NSS_CC_CE_APB_CLK>,
				 <&nsscc NSS_CC_CE_AXI_CLK>,
				 <&nsscc NSS_CC_NSSNOC_CE_APB_CLK>,
				 <&nsscc NSS_CC_NSSNOC_CE_AXI_CLK>,
				 <&nsscc NSS_CC_CLC_AXI_CLK>,
				 <&nsscc NSS_CC_NSSNOC_CLC_AXI_CLK>,
				 <&nsscc NSS_CC_IMEM_QSB_CLK>,
				 <&nsscc NSS_CC_NSSNOC_IMEM_QSB_CLK>,
				 <&nsscc NSS_CC_IMEM_AHB_CLK>,
				 <&nsscc NSS_CC_NSSNOC_IMEM_AHB_CLK>,
				 <&nsscc NSS_CC_NSSNOC_UBI32_AHB0_CLK>,
				 <&nsscc NSS_CC_NSSNOC_UBI32_AXI0_CLK>,
				 <&nsscc NSS_CC_NSSNOC_UBI32_INT0_AHB_CLK>,
				 <&nsscc NSS_CC_NSSNOC_UBI32_NC_AXI0_1_CLK>,
				 <&nsscc NSS_CC_NSSNOC_UBI32_NC_AXI0_CLK>,
				 <&nsscc NSS_CC_UBI32_CORE0_CLK>,
				 <&nsscc NSS_CC_UBI32_AHB0_CLK>,
				 <&nsscc NSS_CC_UBI32_AXI0_CLK>,
				 <&nsscc NSS_CC_UBI32_INTR0_AHB_CLK>,
				 <&nsscc NSS_CC_UBI32_NC_AXI0_CLK>,
				 <&nsscc NSS_CC_UBI32_UTCM0_CLK>,
				 <&gcc GCC_MEM_NOC_NSSNOC_CLK>,
				 <&gcc GCC_NSS_TBU_CLK>,
				 <&gcc GCC_NSS_TS_CLK>,
				 <&gcc GCC_NSSCC_CLK>,
				 <&gcc GCC_NSSCFG_CLK>,
				 <&gcc GCC_NSSNOC_ATB_CLK>,
				 <&gcc GCC_NSSNOC_MEM_NOC_1_CLK>,
				 <&gcc GCC_NSSNOC_MEMNOC_CLK>,
				 <&gcc GCC_NSSNOC_NSSCC_CLK>,
				 <&gcc GCC_NSSNOC_PCNOC_1_CLK>,
				 <&gcc GCC_NSSNOC_QOSGEN_REF_CLK>,
				 <&gcc GCC_NSSNOC_SNOC_1_CLK>,
				 <&gcc GCC_NSSNOC_SNOC_CLK>,
				 <&gcc GCC_NSSNOC_TIMEOUT_REF_CLK>,
				 <&gcc GCC_NSSNOC_XO_DCD_CLK>;
			clock-names = "nss-csr-clk", "nss-nssnoc-csr-clk",
				      "nss-haq-ahb-clk", "nss-haq-axi-clk",
				      "nss-nssnoc-haq-ahb-clk", "nss-nssnoc-haq-axi-clk",
				      "nss-ce-ahb-clk", "nss-ce-axi-clk",
				      "nss-nssnoc-ce-ahb-clk", "nss-nssnoc-ce-axi-clk",
				      "nss-clc-axi-clk", "nss-nssnoc-clc-axi-clk",
				      "nss-imem-qsb-clk", "nss-nssnoc-imem-qsb-clk",
				      "nss-imem-ahb-clk", "nss-nssnoc-imem-ahb-clk",
				      "nss-nssnoc-ahb0-clk", "nss-nssnoc-axi0-clk",
				      "nss-nssnoc-int0-ahb-clk", "nss-nssnoc-nc-axi0-1-clk",
				      "nss-nssnoc-nc-axi0-clk",
				      "nss-core-clk", "nss-ahb-clk", "nss-axi-clk",
				      "nss-intr-ahb-clk", "nss-nc-axi-clk", "nss-utcm-clk",
				      "nss-mem-noc-nssnoc-clk", "nss-tbu-clk", "nss-ts-clk",
				      "nss-nsscc-clk", "nss-nsscfg-clk", "nss-nsscnoc-atb-clk",
				      "nss-nssnoc-mem-noc-1-clk", "nss-nssnoc-memnoc-clk", "nss-nssnoc-nsscc-clk",
				      "nss-nssnoc-pcnoc-1-clk", "nss-nssnoc-qosgen-ref-clk", "nss-nssnoc-snoc-1-clk",
				      "nss-nssnoc-snoc-clk", "nss-nssnoc-timeout-ref-clk", "nss-nssnoc-xo-dcd-clk";
			qcom,id = <0>;
			qcom,num-queue = <4>;
			qcom,num-irq = <10>;
			qcom,num-pri = <4>;
			qcom,load-addr = <0x40000000>;
			qcom,low-frequency = <748800000>;
			qcom,mid-frequency = <1497600000>;
			qcom,max-frequency = <1689600000>;
			qcom,edma-lite-enabled;
			qcom,capwap-enabled;
			qcom,trustsec-enabled;
			qcom,dtls-enabled;
			qcom,crypto-enabled;
		        npu-supply = <&npu_vreg>;
    			 mx-supply = <&ipq9574_s4>;
		};

		nss_crypto: qcom,nss_crypto {
			compatible = "qcom,nss-crypto";
			#address-cells = <1>;
			#size-cells = <1>;
			qcom,max-contexts = <64>;
			qcom,max-context-size = <32>;
			status = "ok";
			ranges;

			eip197_node {
				compatible = "qcom,eip197";
				reg-names = "crypto_pbase";
				reg = <0x39800000 0x7ffff>;
				clocks = <&nsscc NSS_CC_CRYPTO_CLK>,
					<&nsscc NSS_CC_NSSNOC_CRYPTO_CLK>,
					<&nsscc NSS_CC_CRYPTO_PPE_CLK>;
				clock-names = "crypto_clk", "crypto_nocclk",
						"crypto_ppeclk";
				clock-frequency = /bits/ 64 <600000000 600000000 300000000>;
				qcom,dma-mask = <0xff>;
				qcom,transform-enabled;
				qcom,aes128-cbc;
				qcom,aes192-cbc;
				qcom,aes256-cbc;
				qcom,aes128-ctr;
				qcom,aes192-ctr;
				qcom,aes256-ctr;
				qcom,aes128-ecb;
				qcom,aes192-ecb;
				qcom,aes256-ecb;
				qcom,3des-cbc;
				qcom,md5-hash;
				qcom,sha160-hash;
				qcom,sha224-hash;
				qcom,sha384-hash;
				qcom,sha512-hash;
				qcom,sha256-hash;
				qcom,md5-hmac;
				qcom,sha160-hmac;
				qcom,sha224-hmac;
				qcom,sha256-hmac;
				qcom,sha384-hmac;
				qcom,sha512-hmac;
				qcom,aes128-gcm-gmac;
				qcom,aes192-gcm-gmac;
				qcom,aes256-gcm-gmac;
				qcom,aes128-cbc-md5-hmac;
				qcom,aes128-cbc-sha160-hmac;
				qcom,aes192-cbc-md5-hmac;
				qcom,aes192-cbc-sha160-hmac;
				qcom,aes256-cbc-md5-hmac;
				qcom,aes256-cbc-sha160-hmac;
				qcom,aes128-ctr-sha160-hmac;
				qcom,aes192-ctr-sha160-hmac;
				qcom,aes256-ctr-sha160-hmac;
				qcom,aes128-ctr-md5-hmac;
				qcom,aes192-ctr-md5-hmac;
				qcom,aes256-ctr-md5-hmac;
				qcom,3des-cbc-md5-hmac;
				qcom,3des-cbc-sha160-hmac;
				qcom,aes128-cbc-sha256-hmac;
				qcom,aes192-cbc-sha256-hmac;
				qcom,aes256-cbc-sha256-hmac;
				qcom,aes128-ctr-sha256-hmac;
				qcom,aes192-ctr-sha256-hmac;
				qcom,aes256-ctr-sha256-hmac;
				qcom,3des-cbc-sha256-hmac;
				qcom,aes128-cbc-sha384-hmac;
				qcom,aes192-cbc-sha384-hmac;
				qcom,aes256-cbc-sha384-hmac;
				qcom,aes128-ctr-sha384-hmac;
				qcom,aes192-ctr-sha384-hmac;
				qcom,aes256-ctr-sha384-hmac;
				qcom,aes128-cbc-sha512-hmac;
				qcom,aes192-cbc-sha512-hmac;
				qcom,aes256-cbc-sha512-hmac;
				qcom,aes128-ctr-sha512-hmac;
				qcom,aes192-ctr-sha512-hmac;
				qcom,aes256-ctr-sha512-hmac;

				engine0 {
					reg_offset = <0x80000>;
					qcom,ifpp-enabled;
					qcom,ipue-enabled;
					qcom,ofpp-enabled;
					qcom,opue-enabled;
				};
			};
		};

		eip: eip197@39800000 {
			compatible = "qcom,eip";
			reg-names = "eip_pbase";
			reg = <0x39800000 0x7ffff>;
			reg_offset = <0x80000>;
			ranges;
			clocks = <&nsscc NSS_CC_CRYPTO_CLK>,
			<&nsscc NSS_CC_NSSNOC_CRYPTO_CLK>,
			<&nsscc NSS_CC_CRYPTO_PPE_CLK>;
			clock-names = "crypto_clk", "crypto_nocclk",
			"crypto_ppeclk";
			clock-frequency = /bits/ 64 <600000000 600000000 300000000>;
			status = "ok";
			interrupts = <GIC_SPI 385 IRQ_TYPE_LEVEL_HIGH>,
				   <GIC_SPI 386 IRQ_TYPE_LEVEL_HIGH>,
				   <GIC_SPI 387 IRQ_TYPE_LEVEL_HIGH>,
				   <GIC_SPI 388 IRQ_TYPE_LEVEL_HIGH>;

			dma0 {
				tx_cpu = /bits/ 8 <0>;
				rx_cpu = /bits/ 8 <3>;
				ring-name = "lookaside";
				ring-id = /bits/ 8 <0>;
			};

			dma1 {
				tx_cpu = /bits/ 8 <1>;
				rx_cpu = /bits/ 8 <2>;
				ring-name = "lookaside";
				ring-id = /bits/ 8 <1>;
			};

			dma2 {
				tx_cpu = /bits/ 8 <2>;
				rx_cpu = /bits/ 8 <1>;
				ring-name = "lookaside";
				ring-id = /bits/ 8 <2>;
			};

			dma3 {
				tx_cpu = /bits/ 8 <3>;
				rx_cpu = /bits/ 8 <0>;
				ring-name = "lookaside";
				ring-id = /bits/ 8 <3>;
			};

			dma4 {
				tx_cpu = /bits/ 8 <0>;
				rx_cpu = /bits/ 8 <0>;
				ring-name = "hybrid";
				ring-id = /bits/ 8 <4>;
			};

			dma5 {
				tx_cpu = /bits/ 8 <1>;
				rx_cpu = /bits/ 8 <1>;
				ring-name = "hybrid";
				ring-id = /bits/ 8 <5>;
			};

			dma6 {
				tx_cpu = /bits/ 8 <2>;
				rx_cpu = /bits/ 8 <2>;
				ring-name = "hybrid";
				ring-id = /bits/ 8 <6>;
			};

			dma7 {
				tx_cpu = /bits/ 8 <3>;
				rx_cpu = /bits/ 8 <3>;
				ring-name = "hybrid";
				ring-id = /bits/ 8 <7>;
			};
		};

		eip_crypto: eip_crypto {
			compatible = "qcom,eip_crypto";
			status = "ok";
		};

		edma@3ab00000 {

			compatible = "qcom,edma";
			reg = <0x3ab00000 0xef800>;
			reg-names = "edma-reg-base";
			resets = <&nsscc EDMA_HW_RESET>;
			reset-names = "edma_rst";


			clocks = <&nsscc NSS_CC_NSS_CSR_CLK>,
				 <&nsscc NSS_CC_NSSNOC_NSS_CSR_CLK>,
				 <&nsscc NSS_CC_IMEM_QSB_CLK>,
				 <&nsscc NSS_CC_NSSNOC_IMEM_QSB_CLK>,
				 <&nsscc NSS_CC_IMEM_AHB_CLK>,
				 <&nsscc NSS_CC_NSSNOC_IMEM_AHB_CLK>,
				 <&nsscc NSS_CC_PPE_EDMA_CLK>,
				 <&gcc GCC_MEM_NOC_NSSNOC_CLK>,
				 <&gcc GCC_NSS_TBU_CLK>,
				 <&gcc GCC_NSS_TS_CLK>,
				 <&gcc GCC_NSSCC_CLK>,
				 <&gcc GCC_NSSCFG_CLK>,
				 <&gcc GCC_NSSNOC_ATB_CLK>,
				 <&gcc GCC_NSSNOC_MEM_NOC_1_CLK>,
				 <&gcc GCC_NSSNOC_MEMNOC_CLK>,
				 <&gcc GCC_NSSNOC_NSSCC_CLK>,
				 <&gcc GCC_NSSNOC_PCNOC_1_CLK>,
				 <&gcc GCC_NSSNOC_QOSGEN_REF_CLK>,
				 <&gcc GCC_NSSNOC_SNOC_1_CLK>,
				 <&gcc GCC_NSSNOC_SNOC_CLK>,
				 <&gcc GCC_NSSNOC_TIMEOUT_REF_CLK>,
				 <&gcc GCC_NSSNOC_XO_DCD_CLK>;
			clock-names = "nss-csr-clk", "nss-nssnoc-csr-clk",
				      "nss-imem-qsb-clk", "nss-nssnoc-imem-qsb-clk",
				      "nss-imem-ahb-clk", "nss-nssnoc-imem-ahb-clk", "nss-edma-clk",
				      "nss-mem-noc-nssnoc-clk", "nss-tbu-clk", "nss-ts-clk",
				      "nss-nsscc-clk", "nss-nsscfg-clk", "nss-nsscnoc-atb-clk",
				      "nss-nssnoc-mem-noc-1-clk", "nss-nssnoc-memnoc-clk", "nss-nssnoc-nsscc-clk",
				      "nss-nssnoc-pcnoc-1-clk", "nss-nssnoc-qosgen-ref-clk", "nss-nssnoc-snoc-1-clk",
				      "nss-nssnoc-snoc-clk", "nss-nssnoc-timeout-ref-clk", "nss-nssnoc-xo-dcd-clk";

			qcom,txdesc-ring-start = <4>;		/* Tx desc ring start ID */
			qcom,txdesc-rings = <28>;		/* Total number of Tx desc rings to be provisioned */
			qcom,txcmpl-ring-start = <4>;		/* Tx complete ring start ID */
			qcom,txcmpl-rings = <28>;		/* Total number of Tx complete rings to be provisioned */
			qcom,rxfill-ring-start = <4>;		/* Rx fill ring start ID */
			qcom,rxfill-rings = <4>;		/* Total number of Rx fill rings to be provisioned */
			qcom,rxdesc-ring-start = <20>;		/* Rx desc ring start ID */
			qcom,rxdesc-rings = <4>;		/* Total number of Rx desc rings to be provisioned */
			qcom,rx-page-mode = <0>;		/* Rx fill ring page mode */
			qcom,tx-map-priority-level = <1>;	/* Tx priority level per port */
			qcom,rx-map-priority-level = <1>;	/* Rx priority level per core */
			qcom,ppeds-num = <3>;			/* Number of PPEDS nodes */
			/* PPE-DS node format: <Rx-fill Tx-cmpl Rx Tx Queue-base Queue-count> */
/*		qcom,ppeds-map = <0x1 0x1 0x1 0x1 0x4 0x4>,
				 <0x2 0x2 0x2 0x2 0x8 0x4>,
				 <0x3 0x3 0x3 0x3 0xc 0x4>;*/
			qcom,ppeds-map = <1 1 1 1 32 8>,	/* PPEDS Node#0 ring and queue map */
					<2 2 2 2 40 8>,		/* PPEDS Node#1 ring and queue map */
					<3 3 3 3 48 8>;		/* PPEDS Node#2 ring and queue map */

			qcom,txdesc-map = <8 9 10 11>,		/* Port0 per-core Tx ring map */
					<12 13 14 15>,		/* Port1 per-core Tx ring map */
					<16 17 18 19>,		/* Port2 per-core Tx ring map */
					<20 21 22 23>,		/* Port3 per-core Tx ring map */
					<24 25 26 27>,		/* Port4 per-core Tx ring map */
					<28 29 30 31>,		/* Port5 per-core Tx ring map */
					<4 5 6 7>;		/* Used only for VP" */
			qcom,txdesc-fc-grp-map = <1 2 3 4 5 6>;	/* Per GMAC flow control group map */
			qcom,rxfill-map = <4 5 6 7>;		/* Per-core Rx fill ring map */
			qcom,rxdesc-map = <20 21 22 23>;	/* Per-core Rx desc ring map */
			qcom,txdesc_point_offload_ring = <0>;		/* Txdesc point offlaod ring */
			qcom,txcmpl_point_offload_ring = <0>;		/* Txcmpl point offlaod ring */
			qcom,rxfill_point_offload_ring = <0>;		/* Rxfill point offlaod ring */
			qcom,rxdesc_point_offload_ring = <0>;		/* Rxdesc point offlaod ring */
#if 0
			qcom,rx-queue-start = <0>;		/* Rx queue start */
#endif
			qcom,rx-queue-start = <0>;		/* Rx queue start */
			qcom,rx-ring-queue-map = <0 8 16 24>,	/* Priority 0 queues per-core Rx ring map */
					<1 9 17 25>,		/* Priority 1 queues per-core Rx ring map */
					<2 10 18 26>,		/* Priority 2 queues per-core Rx ring map */
					<3 11 19 27>,		/* Priority 3 queues per-core Rx ring map */
					<4 12 20 28>,		/* Priority 4 queues per-core Rx ring map */
					<5 13 21 29>,		/* Priority 5 queues per-core Rx ring map */
					<6 14 22 30>,		/* Priority 6 queues per-core Rx ring map */
					<7 15 23 31>;		/* Priority 7 queues per-core Rx ring map */
			qcom,vp-id = <8>;			/* Virtual port dummy MAC Id */
			interrupts = <0 367 4>,			/* Tx complete ring id #4 IRQ info */
				   <0 368 4>,			/* Tx complete ring id #5 IRQ info */
				   <0 369 4>,			/* Tx complete ring id #6 IRQ info */
				   <0 370 4>,			/* Tx complete ring id #7 IRQ info */
				   <0 371 4>,			/* Tx complete ring id #8 IRQ info */
				   <0 372 4>,			/* Tx complete ring id #9 IRQ info */
				   <0 373 4>,			/* Tx complete ring id #10 IRQ info */
				   <0 374 4>,			/* Tx complete ring id #11 IRQ info */
				   <0 375 4>,			/* Tx complete ring id #12 IRQ info */
				   <0 376 4>,			/* Tx complete ring id #13 IRQ info */
				   <0 377 4>,			/* Tx complete ring id #14 IRQ info */
				   <0 378 4>,			/* Tx complete ring id #15 IRQ info */
				   <0 379 4>,			/* Tx complete ring id #16 IRQ info */
				   <0 380 4>,			/* Tx complete ring id #17 IRQ info */
				   <0 381 4>,			/* Tx complete ring id #18 IRQ info */
				   <0 382 4>,			/* Tx complete ring id #19 IRQ info */
				   <0 383 4>,			/* Tx complete ring id #20 IRQ info */
				   <0 384 4>,			/* Tx complete ring id #21 IRQ info */
				   <0 509 4>,			/* Tx complete ring id #22 IRQ info */
				   <0 508 4>,			/* Tx complete ring id #23 IRQ info */
				   <0 507 4>,			/* Tx complete ring id #24 IRQ info */
				   <0 506 4>,			/* Tx complete ring id #25 IRQ info */
				   <0 505 4>,			/* Tx complete ring id #26 IRQ info */
				   <0 504 4>,			/* Tx complete ring id #27 IRQ info */
				   <0 503 4>,			/* Tx complete ring id #28 IRQ info */
				   <0 502 4>,			/* Tx complete ring id #29 IRQ info */
				   <0 501 4>,			/* Tx complete ring id #30 IRQ info */
				   <0 500 4>,			/* Tx complete ring id #31 IRQ info */

				   <0 351 4>,			/* Rx desc ring id #20 IRQ info */
				   <0 352 4>,			/* Rx desc ring id #21 IRQ info */
				   <0 353 4>,			/* Rx desc ring id #22 IRQ info */
				   <0 354 4>,			/* Rx desc ring id #23 IRQ info */

#if 0
				   <0 261 4>,			/* Misc error IRQ info */
#endif
				   <0 499 4>,			/* Misc error IRQ info */

				   <0 364 4>,			/* PPEDS Node #1(TxComp ring id #1) TxComplete IRQ info */
				   <0 332 4>,			/* PPEDS Node #1(Rx Desc ring id #1) Rx Desc IRQ info */
				   <0 356 4>,			/* PPEDS Node #1(RxFill Desc ring id #1) Rx Fill IRQ info */

				   <0 365 4>,			/* PPEDS Node #2(TxComp ring id #2) TxComplete IRQ info */
				   <0 333 4>,			/* PPEDS Node #2(Rx Desc ring id #2) Rx Desc IRQ info */
				   <0 357 4>,			/* PPEDS Node #2(RxFill Desc ring id #2) Rx Fill IRQ info */

				   <0 366 4>,			/* PPEDS Node #3(TxComp ring id #3) TxComplete IRQ info */
				   <0 334 4>,			/* PPEDS Node #3(Rx Desc ring id #3) Rx Desc IRQ info */
				   <0 358 4>;			/* PPEDS Node #3(RxFill Desc ring id #3) Rx Fill IRQ info */
			};
	nss-ppe {
		compatible = "qcom,nss-ppe";
	};
};

&usb_0_dwc3 {
	dr_mode = "host";
};

&usb_0_qmpphy {
/*	vdda-pll-supply = <&mp5496_l5>;*/
	vdda-phy-supply = <&regulator_fixed_0p925>;

	status = "okay";
};

&usb_0_qusbphy {
	vdd-supply = <&regulator_fixed_0p925>;
/*	vdda-pll-supply = <&mp5496_l5>;*/
	vdda-phy-dpdm-supply = <&regulator_fixed_3p3>;

	status = "okay";
};

&usb3 {
	status = "okay";
};


&apc_apm {
	status = "okay";
};

&apc_cpr {
	vdd-supply = <&ipq9574_s1>;
	status = "okay";
};

&npu_cpr {
	vdd-supply = <&ipq9574_s2>;
	status = "okay";
};


/*
 * The bootstrap pins for the board select the XO clock frequency
 * (48 MHZ or 96 MHZ used for different RDP type board). This setting
 * automatically enables the right dividers, to ensure the reference
 * clock output from WiFi to the CMN PLL is 48 MHZ.
 */
&ref_48mhz_clk {
	clock-div = <1>;
	clock-mult = <1>;
};

/*
 * The frequency of xo_board_clk is fixed to 24 MHZ, which is routed
 * from WiFi output clock 48 MHZ divided by 2.
 */
&xo_board_clk {
	clock-div = <2>;
	clock-mult = <1>;
};

&xo_clk {
	clock-frequency = <48000000>;
};

&CPU0 {
	cpu-supply = <&apc_vreg>;
};

&CPU1 {
	cpu-supply = <&apc_vreg>;
};

&CPU2 {
	cpu-supply = <&apc_vreg>;
};

&CPU3 {
	cpu-supply = <&apc_vreg>;
};


